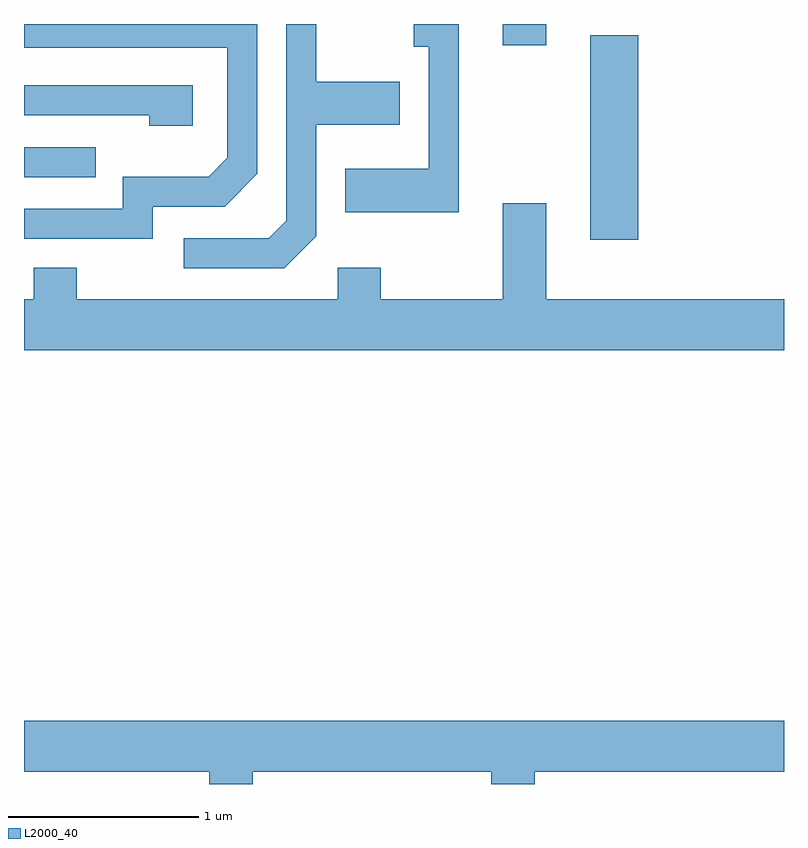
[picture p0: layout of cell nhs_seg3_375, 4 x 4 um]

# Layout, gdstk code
import gdstk
lib = gdstk.Library(unit=1e-6, precision=1e-09)
def R(c, l, rs):  # rectangles x0, y0, x1, y1
    for r in rs: c.add(gdstk.rectangle(r[:2], r[2:], *l))
def P(c, l, *ps):  # polygons
    for p in ps: c.add(gdstk.Polygon(p, *l))
L2000_40 = (2000, 40)

nhs_seg3_375 = lib.new_cell('nhs_seg3_375')
R(nhs_seg3_375, L2000_40, [(198.591,1188.756,198.844,1189.834), (195.611,1189.086,195.988,1189.244), (198.131,1189.781,198.359,1189.892)])
P(nhs_seg3_375, L2000_40, [(196.289,1188.931),(196.667,1188.931),(196.839,1189.104),(196.839,1189.892),(195.611,1189.892),(195.611,1189.766),(196.681,1189.766),(196.681,1189.187),(196.584,1189.089),(196.131,1189.089),(196.131,1188.919),(195.611,1188.919),(195.611,1188.761),(196.289,1188.761)],
  [(197.149,1188.774),(197.149,1189.361),(197.589,1189.361),(197.589,1189.589),(197.149,1189.589),(197.149,1189.892),(196.991,1189.892),(196.991,1188.857),(196.899,1188.764),(196.453,1188.764),(196.453,1188.606),(196.982,1188.606)],
  [(197.899,1189.892),(197.663,1189.892),(197.663,1189.771),(197.741,1189.771),(197.741,1189.129),(197.301,1189.129),(197.301,1188.901),(197.899,1188.901)],
  [(196.499,1189.569),(195.611,1189.569),(195.611,1189.411),(196.271,1189.411),(196.271,1189.356),(196.499,1189.356)],
  [(199.611,1188.444),(198.359,1188.444),(198.359,1188.949),(198.131,1188.949),(198.131,1188.444),(197.489,1188.444),(197.489,1188.609),(197.261,1188.609),(197.261,1188.444),(195.889,1188.444),(195.889,1188.609),(195.661,1188.609),(195.661,1188.444),(195.611,1188.444),(195.611,1188.176),(199.611,1188.176)],
  [(196.814,1185.956),(198.071,1185.956),(198.071,1185.892),(198.299,1185.892),(198.299,1185.956),(199.611,1185.956),(199.611,1186.224),(195.611,1186.224),(195.611,1185.956),(196.586,1185.956),(196.586,1185.892),(196.814,1185.892)])

lib.write_gds('nhs_seg3_375.gds')
